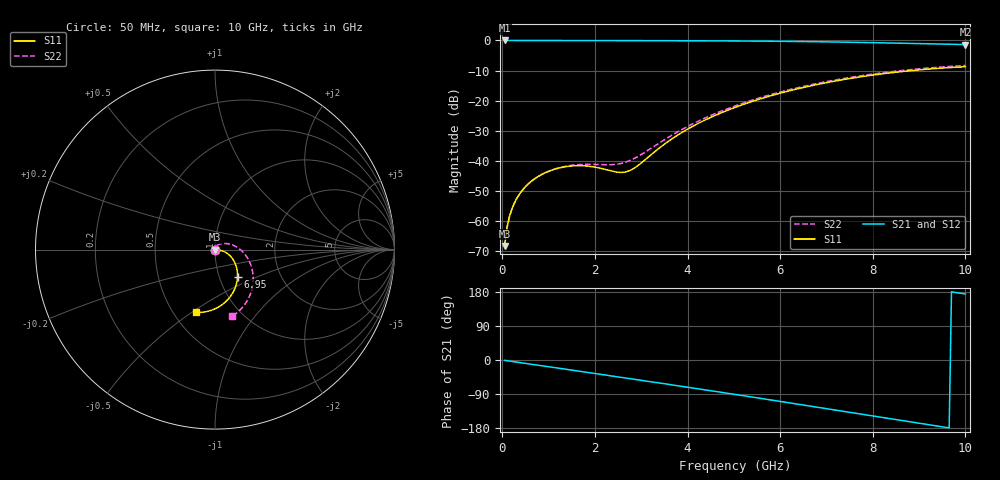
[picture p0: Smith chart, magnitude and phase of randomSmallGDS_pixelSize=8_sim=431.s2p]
! freq	dB(S11)	phase(S11)	dB(S12)	phase(S12)
!  dB(S21)	phase(S21)	dB(S22)	phase(S22)
!S-par simulation data
#  GHz  S  DB  R 50
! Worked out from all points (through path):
!   200 points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, 50 MHz to 10 GHz, reference 50 ohm
!   highest |S21| = 0.00 dB at 50 MHz (marker M1); lowest = -1.4 dB at 10 GHz (marker M2)
!   group delay of S21, straight-line fit = 51.8 ps
!   lowest |S11| = -68.2 dB at 50 MHz (marker M3), VSWR 1.00, Z = 50 - j0.0387 ohm
!   |S11| at or under -10 dB: start of sweep to 8.839 GHz
!   |S22| runs from -68.3 to -8.3 dB; largest |S21 - S12| = 0
!   S11 on the Smith chart (normalised r, x): 50 MHz: 1.00, -0.00; 6.95 GHz: 1.22, -0.38; 10 GHz: 0.64, -0.52
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0.05  -68.23 -85.5  -0.00 -0.9  -0.00 -0.9  -68.31 -86.3
0.1  -62.24 -88.6  -0.00 -1.8  -0.00 -1.8  -62.32 -90.2
0.15  -58.74 -90.0  -0.00 -2.7  -0.00 -2.7  -58.82 -92.5
0.2  -56.26 -91.0  -0.00 -3.6  -0.00 -3.6  -56.34 -94.3
0.35  -51.49 -93.2  -0.01 -6.3  -0.01 -6.3  -51.57 -99.1
0.5  -48.54 -95.0  -0.01 -9.0  -0.01 -9.0  -48.61 -103.7
0.75  -45.39 -97.8  -0.02 -13.4  -0.02 -13.4  -45.43 -111.4
1.05  -43.15 -100.5  -0.02 -18.7  -0.02 -18.7  -43.13 -121.1
1.4  -41.84 -102.6  -0.03 -24.9  -0.03 -24.9  -41.68 -134.0
1.75  -41.61 -102.2  -0.04 -31.2  -0.04 -31.2  -41.15 -149.8
2.35  -43.32 -85.2  -0.05 -41.9  -0.05 -41.9  -41.25 168.6
2.65  -43.70 -59.5  -0.05 -47.3  -0.05 -47.3  -40.48 139.0
2.9  -41.86 -35.0  -0.06 -51.8  -0.06 -51.8  -38.76 114.4
3.4  -35.62 -11.4  -0.07 -60.8  -0.07 -60.8  -33.93 78.4
4.15  -28.19 -9.2  -0.10 -74.5  -0.10 -74.5  -27.40 47.3
5.05  -22.09 -19.1  -0.17 -91.3  -0.17 -91.3  -21.61 22.4
5.85  -18.14 -31.2  -0.26 -106.4  -0.26 -106.4  -17.75 3.9
6.7  -14.94 -45.7  -0.40 -122.7  -0.40 -122.7  -14.60 -14.2
6.95  -14.16 -50.2  -0.45 -127.5  -0.45 -127.5  -13.82 -19.3
8.35  -10.81 -75.8  -0.83 -154.4  -0.83 -154.4  -10.47 -46.5
9.15  -9.57 -90.9  -1.09 -169.7  -1.09 -169.7  -9.21 -61.1
10  -8.73 -107.2  -1.36 174.2  -1.36 174.2  -8.32 -75.6
